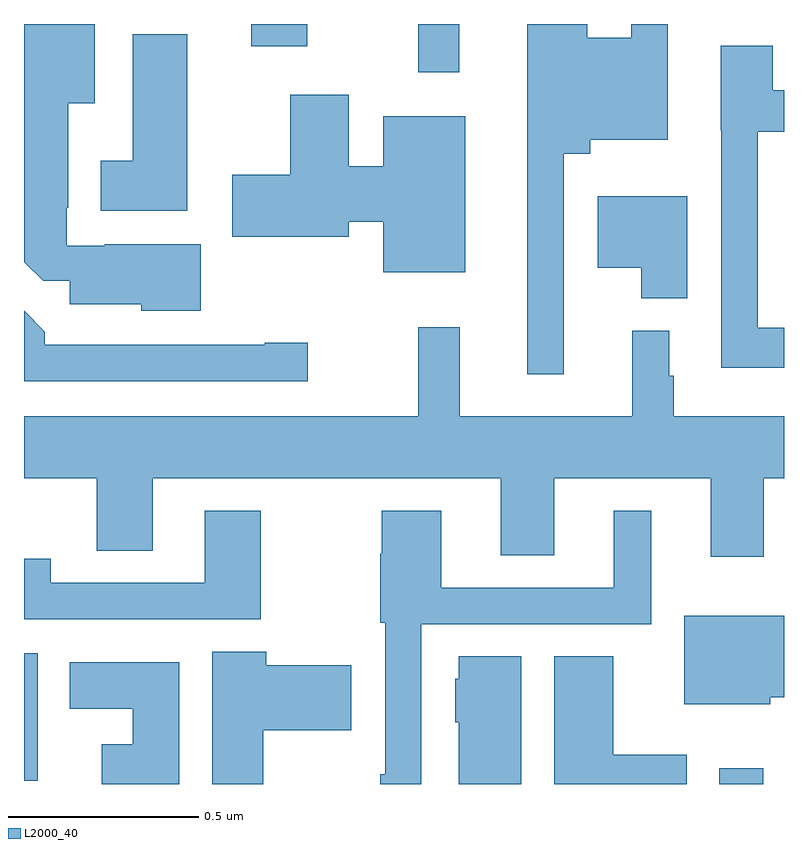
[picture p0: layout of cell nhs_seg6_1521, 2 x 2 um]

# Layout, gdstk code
import gdstk
lib = gdstk.Library(unit=1e-6, precision=1e-09)
def R(c, l, rs):  # rectangles x0, y0, x1, y1
    for r in rs: c.add(gdstk.rectangle(r[:2], r[2:], *l))
def P(c, l, *ps):  # polygons
    for p in ps: c.add(gdstk.Polygon(p, *l))
L2000_40 = (2000, 40)

nhs_seg6_1521 = lib.new_cell('nhs_seg6_1521')
R(nhs_seg6_1521, L2000_40, [(131.829,978.5,131.945,978.541), (130,978.509,130.036,978.844), (131.037,980.373,131.146,980.5), (130.598,980.442,130.746,980.5)])
P(nhs_seg6_1521, L2000_40, [(130.465,979.921),(130.213,979.921),(130.213,979.917),(130.113,979.917),(130.113,980.017),(130.117,980.017),(130.117,980.291),(130.186,980.291),(130.186,980.5),(130.001,980.5),(130.001,979.873),(130.05,979.824),(130.121,979.824),(130.121,979.763),(130.308,979.763),(130.308,979.745),(130.465,979.745)],
  [(131.421,980.159),(131.49,980.159),(131.49,980.195),(131.694,980.195),(131.694,980.5),(131.598,980.5),(131.598,980.464),(131.482,980.464),(131.482,980.5),(131.324,980.5),(131.324,979.578),(131.421,979.578)],
  [(130.429,980.473),(130.286,980.473),(130.286,980.14),(130.202,980.14),(130.202,980.009),(130.429,980.009)],
  [(132,979.701),(131.931,979.701),(131.931,980.217),(132,980.217),(132,980.326),(131.971,980.326),(131.971,980.443),(131.834,980.443),(131.834,980.22),(131.835,980.22),(131.835,979.596),(132,979.596)],
  [(131.161,980.257),(130.946,980.257),(130.946,980.126),(130.855,980.126),(130.855,980.314),(130.7,980.314),(130.7,980.103),(130.548,980.103),(130.548,979.94),(130.855,979.94),(130.855,979.979),(130.946,979.979),(130.946,979.847),(131.161,979.847)],
  [(131.746,980.047),(131.51,980.047),(131.51,979.859),(131.624,979.859),(131.624,979.778),(131.746,979.778)],
  [(130.747,979.661),(130.634,979.661),(130.634,979.656),(130.055,979.656),(130.055,979.69),(130,979.745),(130,979.56),(130.747,979.56)],
  [(131.947,979.304),(132,979.304),(132,979.468),(131.71,979.468),(131.71,979.575),(131.698,979.575),(131.698,979.693),(131.6,979.693),(131.6,979.468),(131.147,979.468),(131.147,979.702),(131.037,979.702),(131.037,979.468),(130,979.468),(130,979.304),(130.192,979.304),(130.192,979.114),(130.339,979.114),(130.339,979.304),(131.255,979.304),(131.255,979.102),(131.395,979.102),(131.395,979.304),(131.807,979.304),(131.807,979.098),(131.947,979.098)],
  [(131.046,978.921),(131.65,978.921),(131.65,979.219),(131.552,979.219),(131.552,979.017),(131.098,979.017),(131.098,979.219),(130.942,979.219),(130.942,979.106),(130.938,979.106),(130.938,978.924),(130.95,978.924),(130.95,978.526),(130.938,978.526),(130.938,978.5),(131.046,978.5)],
  [(130.623,979.219),(130.475,979.219),(130.475,979.029),(130.071,979.029),(130.071,979.093),(130,979.093),(130,978.933),(130.623,978.933)],
  [(131.964,978.728),(132,978.728),(132,978.943),(131.738,978.943),(131.738,978.71),(131.964,978.71)],
  [(130.63,978.641),(130.861,978.641),(130.861,978.812),(130.638,978.812),(130.638,978.848),(130.496,978.848),(130.496,978.5),(130.63,978.5)],
  [(131.308,978.836),(131.144,978.836),(131.144,978.777),(131.135,978.777),(131.135,978.663),(131.144,978.663),(131.144,978.5),(131.308,978.5)],
  [(131.744,978.577),(131.551,978.577),(131.551,978.836),(131.396,978.836),(131.396,978.5),(131.744,978.5)],
  [(130.408,978.82),(130.121,978.82),(130.121,978.698),(130.286,978.698),(130.286,978.604),(130.205,978.604),(130.205,978.5),(130.408,978.5)])

lib.write_gds('nhs_seg6_1521.gds')
